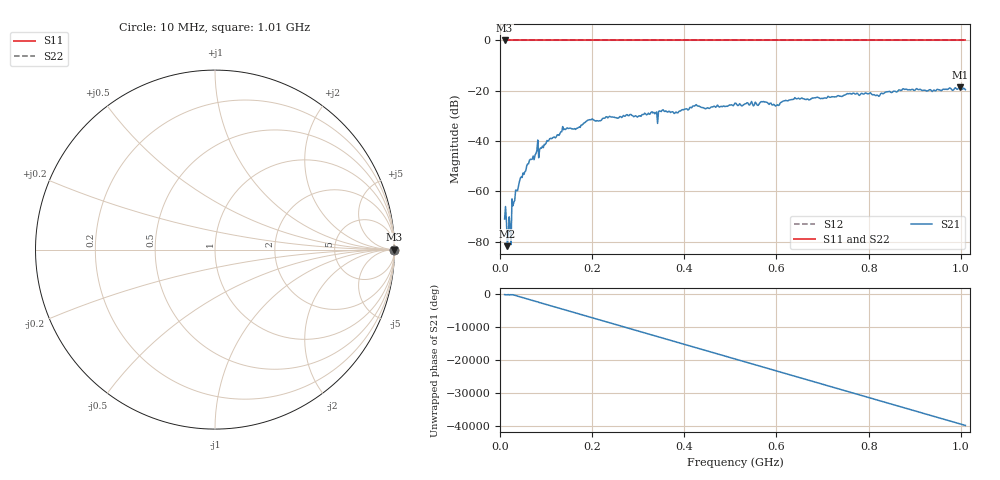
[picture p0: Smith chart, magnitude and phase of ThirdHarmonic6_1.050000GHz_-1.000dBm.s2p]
! 8/16/2025 9:16:02 AM
! C:\ANRITSUVNA\TEMP\TEMP.S2P
! CHANNEL.1
! TR.MEASUREMENT
! RAW.DATA
! RF.CORRECTION.OFF
! AVERAGING.OFF
! IF.BANDWIDTH: 5KHZ
! SWEEPTYPE:  FREQ.SWEEP(Linear)
! Reference Plane Port Info
! PORT:  PORT1  PORT2
! DISTANCE:  0  m  0  m
! TIME:  0  s  0  s
! PHASE.OFFSET:  0  deg.  0  deg.
! LOSS:  0  dB  0  dB
! REF.LOSS:  0  dB  0  dB
! REF.FREQ:  0  Hz  0  Hz
! Power Info
! POWER:  -20  dBm  -20  dBm
! EFF.POWER:  -20  dBm  -20  dBm
! SOURCE.ATTEN:  0  dB  0  dB
! TEST.ATTEN:  0  dB  0  dB
# GHZ S RI R 50.0
! FREQ.GHZ  S11RE  S11IM  S21RE  S21IM  S12RE  S12IM  S22RE  S22IM
!; PortSelection: Port_12
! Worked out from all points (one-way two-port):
!   501 points, 10 MHz to 1.01 GHz, reference 50 ohm
!   highest |S21| = -18.58 dB at 998 MHz (marker M1); lowest = -81.8 dB at 16 MHz (marker M2)
!   lowest |S11| = 0.0 dB at 10 MHz (marker M3)
!   |S11| at or under -10 dB: nowhere
!   |S22| runs from 0.0 to 0.0 dB; largest |S21 - S12| = 1.1
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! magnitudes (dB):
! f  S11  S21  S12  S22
! 10 MHz  0.0  -71.0  0.0  0.0
! 16 MHz  0.0  -81.8  0.0  0.0
! 20 MHz  0.0  -70.1  0.0  0.0
! 28 MHz  0.0  -65.8  0.0  0.0
! 30 MHz  0.0  -64.4  0.0  0.0
! 38 MHz  0.0  -59.8  0.0  0.0
! 62 MHz  0.0  -49.0  0.0  0.0
! 78 MHz  0.0  -45.0  0.0  0.0
! 136 MHz  0.0  -34.2  0.0  0.0
! 178 MHz  0.0  -33.6  0.0  0.0
! 234 MHz  0.0  -30.8  0.0  0.0
! 344 MHz  0.0  -28.3  0.0  0.0
! 422 MHz  0.0  -26.1  0.0  0.0
! 450 MHz  0.0  -26.8  0.0  0.0
! 510 MHz  0.0  -24.9  0.0  0.0
! 572 MHz  0.0  -24.3  0.0  0.0
! 602 MHz  0.0  -25.6  0.0  0.0
! 638 MHz  0.0  -23.3  0.0  0.0
! 678 MHz  0.0  -22.9  0.0  0.0
! 844 MHz  0.0  -20.3  0.0  0.0
! 998 MHz  0.0  -18.6  0.0  0.0
! 1.01 GHz  0.0  -19.6  0.0  0.0
